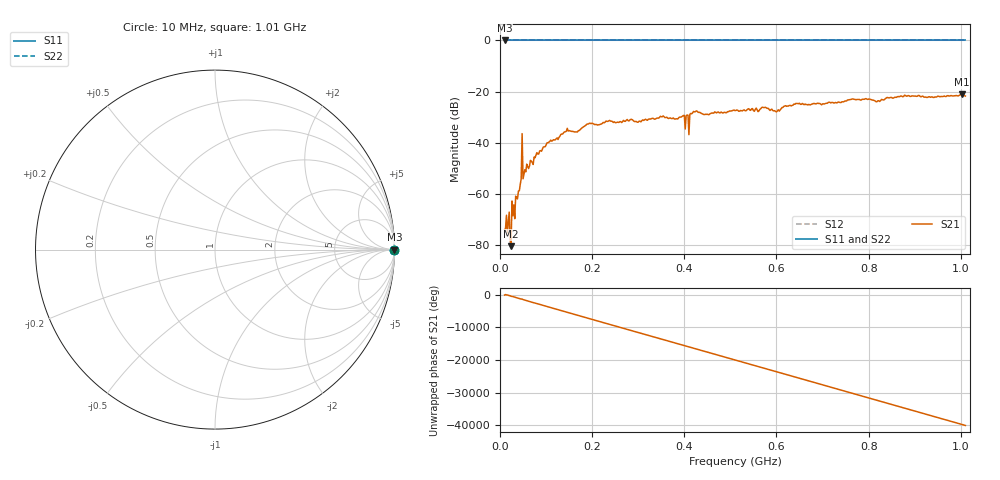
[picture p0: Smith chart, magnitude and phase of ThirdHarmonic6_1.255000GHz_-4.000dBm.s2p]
! 8/16/2025 1:26:40 PM
! C:\ANRITSUVNA\TEMP\TEMP.S2P
! CHANNEL.1
! TR.MEASUREMENT
! RAW.DATA
! RF.CORRECTION.OFF
! AVERAGING.OFF
! IF.BANDWIDTH: 5KHZ
! SWEEPTYPE:  FREQ.SWEEP(Linear)
! Reference Plane Port Info
! PORT:  PORT1  PORT2
! DISTANCE:  0  m  0  m
! TIME:  0  s  0  s
! PHASE.OFFSET:  0  deg.  0  deg.
! LOSS:  0  dB  0  dB
! REF.LOSS:  0  dB  0  dB
! REF.FREQ:  0  Hz  0  Hz
! Power Info
! POWER:  -20  dBm  -20  dBm
! EFF.POWER:  -20  dBm  -20  dBm
! SOURCE.ATTEN:  0  dB  0  dB
! TEST.ATTEN:  0  dB  0  dB
# GHZ S RI R 50.0
! FREQ.GHZ  S11RE  S11IM  S21RE  S21IM  S12RE  S12IM  S22RE  S22IM
!; PortSelection: Port_12
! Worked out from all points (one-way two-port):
!   501 points, 10 MHz to 1.01 GHz, reference 50 ohm
!   highest |S21| = -21.09 dB at 1.002 GHz (marker M1); lowest = -80.4 dB at 24 MHz (marker M2)
!   lowest |S11| = 0.0 dB at 10 MHz (marker M3)
!   |S11| at or under -10 dB: nowhere
!   |S22| runs from 0.0 to 0.0 dB; largest |S21 - S12| = 1.1
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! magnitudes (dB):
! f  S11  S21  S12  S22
! 10 MHz  0.0  -73.9  0.0  0.0
! 16 MHz  0.0  -75.1  0.0  0.0
! 20 MHz  0.0  -67.1  0.0  0.0
! 24 MHz  0.0  -80.4  0.0  0.0
! 28 MHz  0.0  -68.5  0.0  0.0
! 30 MHz  0.0  -64.2  0.0  0.0
! 42 MHz  0.0  -58.7  0.0  0.0
! 44 MHz  0.0  -56.2  0.0  0.0
! 52 MHz  0.0  -52.3  0.0  0.0
! 54 MHz  0.0  -50.5  0.0  0.0
! 106 MHz  0.0  -39.8  0.0  0.0
! 178 MHz  0.0  -34.1  0.0  0.0
! 344 MHz  0.0  -30.3  0.0  0.0
! 396 MHz  0.0  -29.6  0.0  0.0
! 406 MHz  0.0  -29.2  0.0  0.0
! 424 MHz  0.0  -27.8  0.0  0.0
! 510 MHz  0.0  -27.4  0.0  0.0
! 602 MHz  0.0  -27.5  0.0  0.0
! 678 MHz  0.0  -24.8  0.0  0.0
! 844 MHz  0.0  -22.5  0.0  0.0
! 1.002 GHz  0.0  -21.1  0.0  0.0
! 1.01 GHz  0.0  -21.7  0.0  0.0
